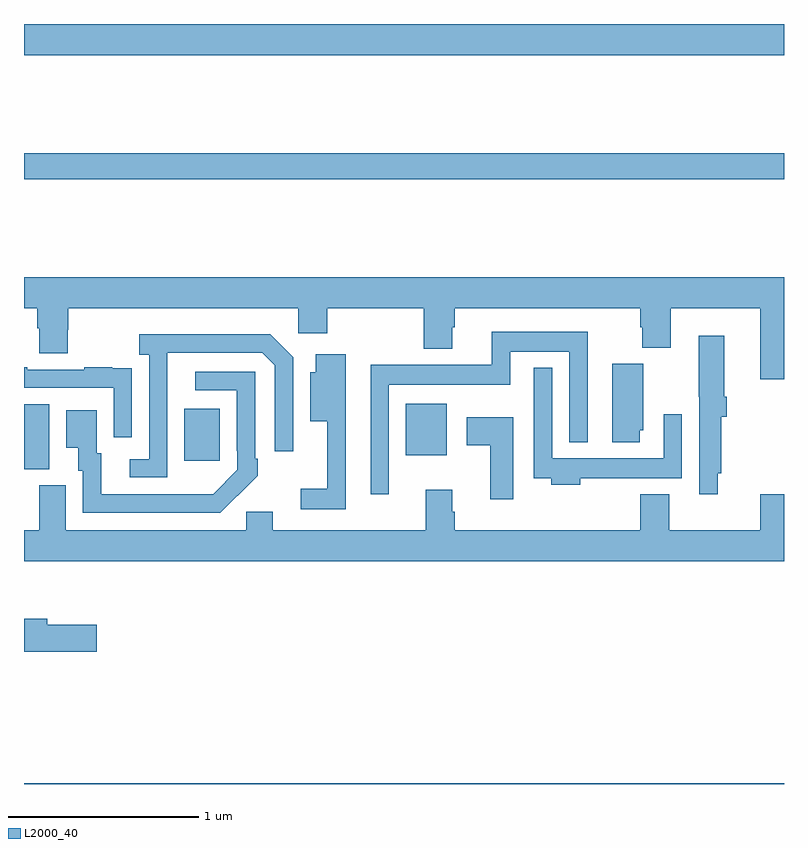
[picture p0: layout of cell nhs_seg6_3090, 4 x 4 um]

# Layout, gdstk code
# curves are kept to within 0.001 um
import gdstk
lib = gdstk.Library(unit=1e-6, precision=1e-09)
def R(c, l, rs):  # rectangles x0, y0, x1, y1
    for r in rs: c.add(gdstk.rectangle(r[:2], r[2:], *l))
def P(c, l, *ps):  # polygons
    for p in ps: c.add(gdstk.Polygon(p, *l))
L2000_40 = (2000, 40)

nhs_seg6_3090 = lib.new_cell('nhs_seg6_3090')
R(nhs_seg6_3090, L2000_40, [(293,943.5,297,943.504), (293,945.157,293.134,945.5), (293.843,945.201,294.031,945.475), (295.01,945.23,295.225,945.502), (293,946.684,297,946.82), (293,947.336,297,947.5)])
P(nhs_seg6_3090, L2000_40, [(297,946.168),(293,946.168),(293,946.004),(293.069,946.004),(293.069,945.898),(293.081,945.898),(293.081,945.766),(293.229,945.766),(293.229,945.891),(293.234,945.891),(293.234,946.004),(294.444,946.004),(294.444,945.873),(294.596,945.873),(294.596,946.004),(295.103,946.004),(295.103,945.791),(295.255,945.791),(295.255,945.903),(295.268,945.903),(295.268,946.004),(296.243,946.004),(296.243,945.905),(296.255,945.905),(296.255,945.796),(296.403,945.796),(296.403,946.004),(296.876,946.004),(296.876,945.63),(297,945.63)],
  [(294.921,945.602),(295.56,945.602),(295.56,945.776),(295.869,945.776),(295.869,945.299),(295.966,945.299),(295.966,945.88),(295.463,945.88),(295.463,945.706),(294.824,945.706),(294.824,945.024),(294.921,945.024)],
  [(293.754,945.571),(293.755,945.771),(294.255,945.771),(294.321,945.705),(294.321,945.252),(294.417,945.252),(294.417,945.747),(294.296,945.868),(293.607,945.868),(293.607,945.758),(293.658,945.758),(293.658,945.21),(293.556,945.21),(293.556,945.114),(293.754,945.114)],
  [(296.652,945.136),(296.669,945.136),(296.669,945.434),(296.699,945.434),(296.699,945.538),(296.686,945.538),(296.686,945.859),(296.552,945.859),(296.552,945.538),(296.553,945.538),(296.553,945.024),(296.652,945.024)],
  [(294.694,945.763),(294.536,945.763),(294.536,945.667),(294.506,945.667),(294.506,945.41),(294.596,945.41),(294.596,945.055),(294.456,945.055),(294.456,944.946),(294.694,944.946)],
  [(296.242,945.363),(296.26,945.363),(296.26,945.711),(296.096,945.711),(296.096,945.3),(296.242,945.3)],
  [(293.568,945.578),(293.567,945.578),(293.567,945.687),(293.465,945.687),(293.465,945.694),(293.317,945.694),(293.317,945.681),(293.017,945.681),(293.017,945.694),(293,945.694),(293,945.585),(293.472,945.585),(293.472,945.324),(293.568,945.324)],
  [(295.928,945.108),(296.159,945.108),(296.159,945.11),(296.463,945.11),(296.463,945.445),(296.367,945.445),(296.367,945.214),(295.779,945.214),(295.779,945.691),(295.683,945.691),(295.683,945.108),(295.775,945.108),(295.775,945.074),(295.928,945.074)],
  [(294.125,945.019),(294.126,945.018),(294.231,945.123),(294.231,945.211),(294.216,945.211),(294.216,945.669),(293.901,945.669),(293.901,945.573),(294.12,945.573),(294.12,945.253),(294.123,945.253),(294.123,945.153),(293.995,945.025),(293.407,945.024),(293.407,945.24),(293.383,945.24),(293.383,945.466),(293.222,945.466),(293.222,945.269),(293.285,945.269),(293.285,945.15),(293.31,945.15),(293.31,944.928),(294.034,944.928)],
  [(295.576,945.43),(295.329,945.43),(295.329,945.283),(295.454,945.283),(295.454,945),(295.576,945)],
  [(297,945.025),(296.876,945.025),(296.876,944.836),(296.395,944.836),(296.395,945.025),(296.243,945.025),(296.243,944.836),(295.268,944.836),(295.268,944.934),(295.255,944.934),(295.255,945.049),(295.115,945.049),(295.115,944.836),(294.31,944.836),(294.31,944.934),(294.171,944.934),(294.171,944.836),(293.221,944.836),(293.221,945.072),(293.081,945.072),(293.081,944.836),(293,944.836),(293,944.672),(297,944.672)],
  [(293.383,944.337),(293.122,944.337),(293.122,944.371),(293,944.371),(293,944.195),(293.383,944.195)])

lib.write_gds('nhs_seg6_3090.gds')
